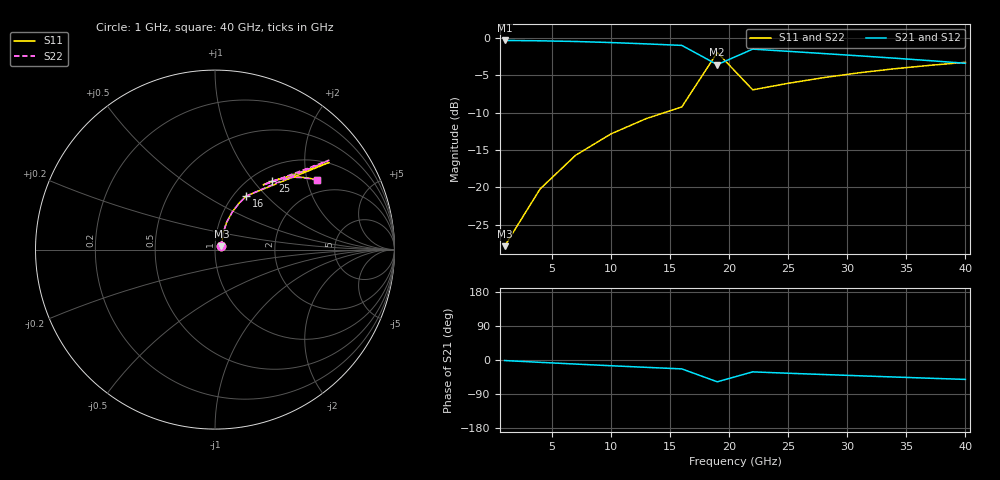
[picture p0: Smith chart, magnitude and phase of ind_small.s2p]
! Generated by circuitRF - EM: Full-wave planar
! circuitRF-EM setup: ind_small
! circuitRF-EM layout: IND_SMALL/layout/IND_SMALL.clay
! circuitRF-EM written: 2026-11-14 11:31:28Z
! circuitRF-EM stamp: 20261114T113128Z-c4542c6c
! circuitRF-EM geometry: baf0844368c6d0da
! circuitRF-EM mesh: fe57f60442dd9ee5
! circuitRF-EM ports: 6c95780363f39ef7
! circuitRF-EM model: grounded-edge-port-2026-10-14
! Port[1] = 1
! Port[2] = 2
! circuitRF-EM port 1: '1' on 'TopMetal1' at (-3.05, -1 um), edge, uncalibrated (not de-embedded), 50 Ohm
! circuitRF-EM port 2: '2' on 'TopMetal1' at (3.05, -1 um), edge, uncalibrated (not de-embedded), 50 Ohm
! circuitRF-EM: port N of this file is the label named on the 'port N' line above. A circuit that composes this result binds its nets in that order; two ports of a reciprocal part swapped gives a plausible curve of a different structure.
! circuitRF-EM caveat: 4 of these rows are NOT A PASSIVE NETWORK and should not be used: 19 GHz to 40 GHz, worst sigma_max(S) = 1.0877. A passive structure cannot exceed 1, so the excess is this analysis rather than the design. The de-embedding reports no error floor on this sweep, so it is not the 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
! circuitRF-EM: re-running the EM setup rewrites this file. If circuitRF reports it as stale, the layout's cross-section changed after this file was written.
# GHz S RI R 50
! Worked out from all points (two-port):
!   14 points, 1 GHz to 40 GHz, reference 50 ohm
!   highest |S21| = -0.33 dB at 1 GHz (marker M1); lowest = -3.6 dB at 19 GHz (marker M2)
!   |S21| within 3 dB of the highest: start of sweep to 18.73 GHz; 19.34 GHz to 39.54 GHz (20.19 GHz wide, 68.6 % of centre)
!   lowest |S11| = -27.9 dB at 1 GHz (marker M3), VSWR 1.08, Z = 53.7 + j2.04 ohm
!   |S11| at or under -10 dB: start of sweep to 14.49 GHz
!   |S22| runs from -27.8 to -1.9 dB; largest |S21 - S12| = 1.3e-08
!   S11 on the Smith chart (normalised r, x): 1 GHz: 1.07, +0.04; 16 GHz: 1.14, +0.78; 25 GHz: 1.23, +1.25; 40 GHz: 1.56, +2.30
1  0.0357 0.019  0.963 -0.0244  0.963 -0.0244  0.0358 0.0191
4  0.0437 0.0874  0.9527 -0.1028  0.9527 -0.1028  0.0438 0.0875
7  0.0642 0.1509  0.9315 -0.1765  0.9315 -0.1765  0.0645 0.151
10  0.0948 0.2077  0.9004 -0.2437  0.9004 -0.2437  0.0953 0.2078
13  0.1327 0.2571  0.8617 -0.3036  0.8617 -0.3036  0.1334 0.2571
16  0.1745 0.2988  0.8187 -0.3559  0.8187 -0.3559  0.1756 0.2986
19  0.6366 0.4856  0.3566 -0.5597  0.3566 -0.5597  0.6343 0.4976
22  0.269 0.3609  0.72 -0.438  0.72 -0.438  0.2706 0.3603
25  0.3189 0.3823  0.6681 -0.4667  0.6681 -0.4667  0.3208 0.3813
28  0.3708 0.397  0.6175 -0.4882  0.6175 -0.4882  0.373 0.3957
31  0.4236 0.404  0.5681 -0.5052  0.5681 -0.5052  0.426 0.4023
34  0.4742 0.4038  0.5192 -0.5178  0.5192 -0.5178  0.4771 0.4017
37  0.5221 0.3984  0.471 -0.5255  0.471 -0.5255  0.5254 0.3957
40  0.5673 0.3886  0.4244 -0.5284  0.4244 -0.5284  0.5709 0.3852
